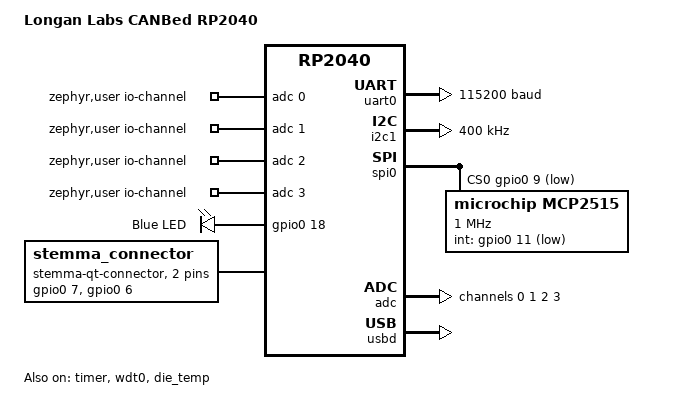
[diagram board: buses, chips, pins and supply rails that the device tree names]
/*
 * Copyright (c) 2021 Yonatan Schachter
 * Copyright (c) 2022 Peter Johanson
 * Copyright (c) 2026 Jonas Berg
 *
 * SPDX-License-Identifier: Apache-2.0
 */

/dts-v1/;

#include <zephyr/dt-bindings/led/led.h>
#include <zephyr/dt-bindings/pinctrl/rpi-pico-rp2040-pinctrl.h>
#include <raspberrypi/rpi_pico/rp2040.dtsi>
#include "canbed_rp2040-pinctrl.dtsi"

/ {
	model = "Longan Labs CANBed RP2040";
	compatible = "longan,canbed_rp2040";

	chosen {
		zephyr,sram = &sram0;
		zephyr,flash = &flash0;
		zephyr,flash-controller = &ssi;
		zephyr,console = &uart0;
		zephyr,shell-uart = &uart0;
		zephyr,code-partition = &code_partition;
		zephyr,canbus = &mcp2515;
	};

	aliases {
		watchdog0 = &wdt0;
		led0 = &blue_led;
	};

	zephyr,user {
		io-channels = <&adc 0>, <&adc 1>, <&adc 2>, <&adc 3>;
	};

	leds: leds {
		compatible = "gpio-leds";

		blue_led: blue_led {
			gpios = <&gpio0 18 GPIO_ACTIVE_HIGH>;
			label = "Blue LED";
		};
	};

	stemma_connector: stemma_connector {
		compatible = "stemma-qt-connector";
		#gpio-cells = <2>;
		gpio-map-mask = <0xffffffff 0xffffffc0>;
		gpio-map-pass-thru = <0 0x3f>;
		gpio-map = <0 0 &gpio0 7 0>, /* SCL */
			   <1 0 &gpio0 6 0>; /* SDA */
	};
};

&flash0 {
	reg = <0x10000000 DT_SIZE_M(2)>;

	partitions {
		compatible = "fixed-partitions";
		#address-cells = <1>;
		#size-cells = <1>;

		/* Reserved memory for the second stage bootloader */
		second_stage_bootloader: partition@0 {
			label = "second_stage_bootloader";
			reg = <0x00000000 0x100>;
			read-only;
		};

		/*
		 * Usable flash. Starts at 0x100, after the bootloader. The partition
		 * size is 2 MB minus the 0x100 bytes taken by the bootloader.
		 */
		code_partition: partition@100 {
			label = "code-partition";
			reg = <0x100 (DT_SIZE_M(2) - 0x100)>;
			read-only;
		};
	};
};

&gpio0 {
	status = "okay";
};

&uart0 {
	current-speed = <115200>;
	status = "okay";
	pinctrl-0 = <&uart0_default>;
	pinctrl-names = "default";
};

zephyr_i2c: &i2c1 {
	status = "okay";
	pinctrl-0 = <&i2c1_default>;
	pinctrl-names = "default";
	clock-frequency = <I2C_BITRATE_FAST>;
};

&spi0 {
	pinctrl-0 = <&spi0_default>;
	pinctrl-names = "default";
	status = "okay";
	cs-gpios = <&gpio0 9 GPIO_ACTIVE_LOW>;

	mcp2515: mcp2515@0 {
		compatible = "microchip,mcp2515";
		spi-max-frequency = <1000000>;
		int-gpios = <&gpio0 11 GPIO_ACTIVE_LOW>;
		status = "okay";
		reg = <0x0>;
		osc-freq = <16000000>;

		can-transceiver {
			max-bitrate = <1000000>;
		};
	};
};

&timer {
	status = "okay";
};

&wdt0 {
	status = "okay";
};

&adc {
	status = "okay";
	pinctrl-0 = <&adc_default>;
	pinctrl-names = "default";
	#address-cells = <1>;
	#size-cells = <0>;

	channel@0 {
		reg = <0>;
		zephyr,gain = "ADC_GAIN_1";
		zephyr,reference = "ADC_REF_INTERNAL";
		zephyr,acquisition-time = <ADC_ACQ_TIME_DEFAULT>;
		zephyr,resolution = <12>;
	};

	channel@1 {
		reg = <1>;
		zephyr,gain = "ADC_GAIN_1";
		zephyr,reference = "ADC_REF_INTERNAL";
		zephyr,acquisition-time = <ADC_ACQ_TIME_DEFAULT>;
		zephyr,resolution = <12>;
	};

	channel@2 {
		reg = <2>;
		zephyr,gain = "ADC_GAIN_1";
		zephyr,reference = "ADC_REF_INTERNAL";
		zephyr,acquisition-time = <ADC_ACQ_TIME_DEFAULT>;
		zephyr,resolution = <12>;
	};

	channel@3 {
		reg = <3>;
		zephyr,gain = "ADC_GAIN_1";
		zephyr,reference = "ADC_REF_INTERNAL";
		zephyr,acquisition-time = <ADC_ACQ_TIME_DEFAULT>;
		zephyr,resolution = <12>;
	};
};

zephyr_udc0: &usbd {
	status = "okay";
};

&die_temp {
	status = "okay";
};

&vreg {
	regulator-always-on;
	regulator-allowed-modes = <REGULATOR_RPI_PICO_MODE_NORMAL>;
};

&xosc {
	startup-delay-multiplier = <64>;
};
